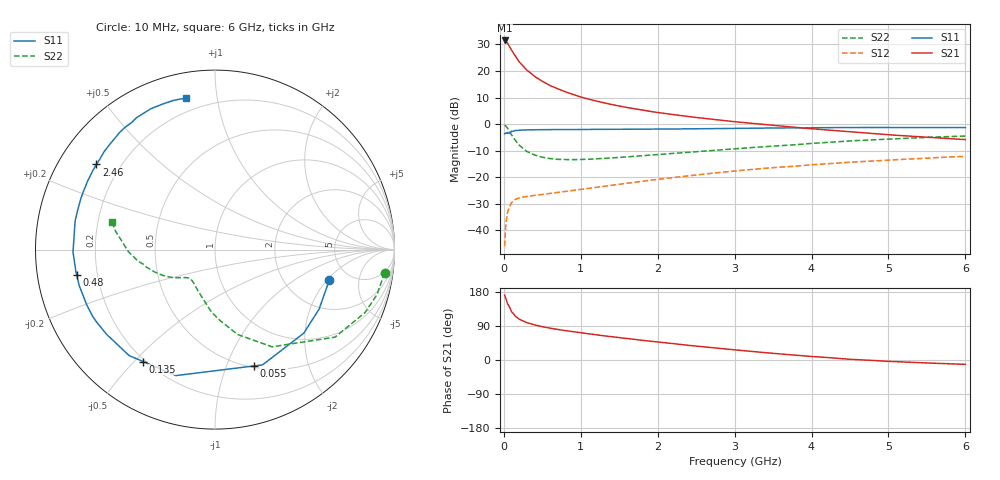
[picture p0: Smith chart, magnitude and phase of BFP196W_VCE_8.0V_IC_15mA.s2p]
! Infineon Technologies  Discrete & RF Semiconductors
! BFP196W
! VCE = 8.0 V,  IC =  15mA
! Common Emitter S-Parameters:  Jan 2016
# GHz  S  MA  R  50
!  f  S11  S21  S12  S22
! GHz  MAG  ANG  MAG  ANG  MAG  ANG  MAG  ANG
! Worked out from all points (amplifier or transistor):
!   210 points, 10 MHz to 6 GHz, reference 50 ohm
!   highest |S21| = 31.5 dB at 10 MHz (marker M1)
!   |S21| within 3 dB of that: start of sweep to 86.87 MHz
!   unconditionally stable (mu >= 1): 1.04 GHz to 3.371 GHz
!   at 185 MHz: K = 0.27, MSG = 26.1 dB, |S12| = -28.0 dB
!   at 1.52 GHz: K = 1.13, MAG = 12.4 dB, |S12| = -22.6 dB
!   at 6 GHz: K = 0.93, MSG = 3.1 dB, |S12| = -12.1 dB
!   S11 on the Smith chart (normalised r, x): 10 MHz: 3.54, -2.11; 55 MHz: 0.52, -1.25; 135 MHz: 0.19, -0.53; 480 MHz: 0.12, -0.09; 2.46 GHz: 0.11, +0.32; 6 GHz: 0.13, +0.82
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0.01  0.6595 -14.8  37.65 171.3  0.005 80.1  0.9538 -7.8
0.02  0.6681 -29.8  37.57 166.0  0.0101 76.5  0.9367 -15.5
0.03  0.6793 -43.3  36.42 159.6  0.0147 72.0  0.9071 -22.7
0.05  0.6947 -67.6  33.23 147.7  0.0224 60.4  0.8277 -36.1
0.055  0.6834 -71.5  32.25 146.2  0.0234 58.1  0.8029 -37.9
0.1  0.7347 -107.2  24.8 127.5  0.0331 44.0  0.6281 -59.6
0.135  0.7411 -122.7  20.55 119.6  0.0365 37.9  0.5275 -69.5
0.15  0.7599 -129.0  18.89 115.2  0.0381 35.6  0.4906 -74.9
0.2  0.7666 -142.0  14.89 107.7  0.0405 31.9  0.4006 -85.3
0.26  0.7766 -151.6  11.91 101.7  0.0425 29.6  0.3386 -94.5
0.3  0.7781 -156.4  10.34 98.5  0.0432 29.0  0.3042 -99.5
0.4  0.7826 -165.1  7.91 92.4  0.0454 28.8  0.2613 -109.0
0.48  0.7836 -169.8  6.69 88.8  0.0468 30.0  0.2416 -114.6
0.7  0.7915 -179.1  4.625 80.6  0.0513 33.8  0.2164 -124.7
1.02  0.7902 172.3  3.179 71.4  0.0589 39.5  0.2154 -132.4
1.4  0.7961 163.8  2.338 61.4  0.0702 44.2  0.2301 -137.3
2.02  0.8059 152.1  1.637 47.1  0.0915 48.6  0.2666 -144.1
2.46  0.8132 144.3  1.352 37.5  0.1083 49.1  0.2985 -149.4
3.1  0.8306 133.9  1.074 25.0  0.1344 47.5  0.3505 -158.3
4.1  0.8559 119.5  0.797 8.0  0.1748 42.2  0.4419 -172.8
5.1  0.8618 108.5  0.615 -4.4  0.213 35.4  0.5297 173.7
6  0.8593 101.0  0.51 -11.5  0.247 29.3  0.5949 164.8
